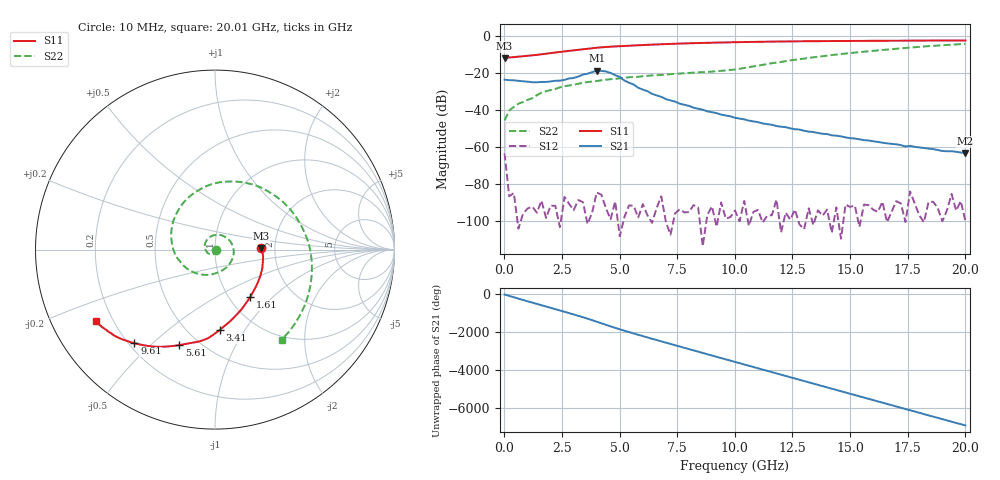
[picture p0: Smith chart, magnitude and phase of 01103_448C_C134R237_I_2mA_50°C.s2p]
!;Filter: kein Filter
!auto
!3/21/2019 9:26:52 AM
!3/21/2019 9:27:07 AM
!SP-Measurements Prober G4
!SP-Measurements Prober G4
!01103_448C
!134
!237
!12
!50
!-20
!0.00199954
!1.75
!0.22129449
!0.22129449
# Hz S  RI  R 50
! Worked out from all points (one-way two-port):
!   101 points, 10 MHz to 20.01 GHz, reference 50 ohm
!   highest |S21| = -18.47 dB at 4.01 GHz (marker M1); lowest = -63.2 dB at 20.01 GHz (marker M2)
!   lowest |S11| = -11.8 dB at 10 MHz (marker M3), VSWR 1.69, Z = 84.5 + j1.35 ohm
!   |S11| at or under -10 dB: start of sweep to 1.395 GHz
!   |S22| runs from -45.4 to -4.1 dB; largest |S21 - S12| = 0.12
!   S11 on the Smith chart (normalised r, x): 10 MHz: 1.69, +0.03; 1.61 GHz: 1.25, -0.74; 3.41 GHz: 0.70, -0.78; 5.61 GHz: 0.39, -0.62; 9.61 GHz: 0.22, -0.44; 20.01 GHz: 0.14, -0.27
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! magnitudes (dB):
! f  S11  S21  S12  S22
! 10 MHz  -11.8  -23.4  -63.2  -45.4
! 210 MHz  -11.4  -23.7  -86.4  -40.1
! 610 MHz  -10.9  -24.0  -103.9  -36.4
! 1.21 GHz  -10.2  -24.8  -92.0  -33.4
! 1.61 GHz  -9.7  -24.6  -88.8  -30.4
! 2.61 GHz  -8.1  -23.5  -86.8  -26.9
! 3.41 GHz  -7.0  -20.6  -89.6  -25.1
! 4.01 GHz  -6.1  -18.5  -84.4  -24.1
! 4.61 GHz  -5.6  -19.8  -98.9  -23.1
! 5.61 GHz  -4.9  -26.0  -91.6  -21.9
! 5.81 GHz  -4.8  -27.8  -97.9  -21.9
! 6.41 GHz  -4.5  -31.1  -100.8  -21.1
! 6.81 GHz  -4.2  -32.7  -86.4  -20.8
! 8.21 GHz  -3.7  -38.5  -91.2  -19.6
! 9.61 GHz  -3.2  -42.8  -98.5  -18.4
! 10.01 GHz  -3.1  -44.0  -94.1  -17.9
! 13.41 GHz  -2.6  -51.7  -102.0  -11.3
! 16.81 GHz  -2.3  -58.1  -94.7  -6.9
! 17.41 GHz  -2.3  -59.5  -100.4  -6.3
! 17.61 GHz  -2.3  -59.1  -83.8  -6.1
! 19.01 GHz  -2.2  -61.9  -100.0  -4.8
! 20.01 GHz  -2.2  -63.2  -100.0  -4.1
